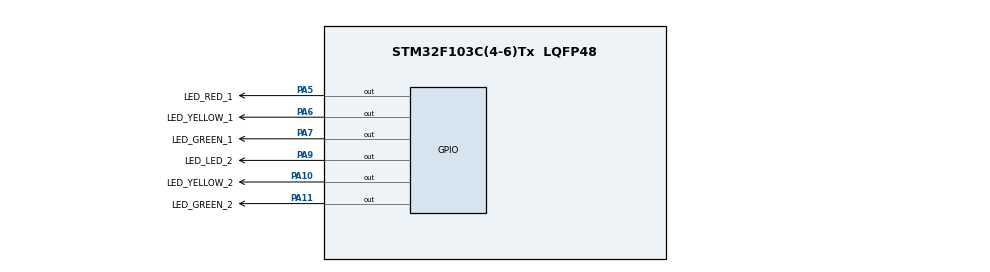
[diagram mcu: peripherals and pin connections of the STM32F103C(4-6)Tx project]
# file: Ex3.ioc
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Mcu.Family=STM32F1
Mcu.Name=STM32F103C(4-6)Tx
Mcu.Package=LQFP48
NVIC.PriorityGroup=NVIC_PRIORITYGROUP_4
PA10.GPIO_Label=LED_YELLOW_2
PA10.Signal=GPIO_Output
PA11.GPIO_Label=LED_GREEN_2
PA11.Signal=GPIO_Output
PA5.GPIO_Label=LED_RED_1
PA5.Signal=GPIO_Output
PA6.GPIO_Label=LED_YELLOW_1
PA6.Signal=GPIO_Output
PA7.GPIO_Label=LED_GREEN_1
PA7.Signal=GPIO_Output
PA9.GPIO_Label=LED_LED_2
PA9.Signal=GPIO_Output
ProjectManager.HeapSize=0x200
ProjectManager.StackSize=0x400
ProjectManager.TargetToolchain=STM32CubeIDE
RCC.APB1Freq_Value=8000000
RCC.APB2Freq_Value=8000000
board=custom

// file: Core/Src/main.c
/* USER CODE BEGIN Header */
/**
  ******************************************************************************
  * @file           : main.c
  * @brief          : Main program body
  ******************************************************************************
  * @attention
  *
  * Copyright (c) 2023 STMicroelectronics.
  * All rights reserved.
  *
  * This software is licensed under terms that can be found in the LICENSE file
  * in the root directory of this software component.
  * If no LICENSE file comes with this software, it is provided AS-IS.
  *
  ******************************************************************************
  */
/* USER CODE END Header */
#include "main.h"

void SystemClock_Config(void);
static void MX_GPIO_Init(void);

int main(void)
{

  /* MCU Configuration--------------------------------------------------------*/

  /* Reset of all peripherals, Initializes the Flash interface and the Systick. */
  HAL_Init();

  /* Configure the system clock */
  SystemClock_Config();

  /* Initialize all configured peripherals */
  MX_GPIO_Init();

  /* Infinite loop */

  int time_delay_RED = 500;
  int time_delay_YELLOW = 200;
  int time_delay_GREEN = 300;

  HAL_GPIO_WritePin(GPIOA, GPIO_PIN_5, 0);
  HAL_GPIO_WritePin(GPIOA, GPIO_PIN_6, 0);
  HAL_GPIO_WritePin(GPIOA, GPIO_PIN_7, 0);
  HAL_GPIO_WritePin(GPIOA, GPIO_PIN_9, 0);
  HAL_GPIO_WritePin(GPIOA, GPIO_PIN_10, 0);
  HAL_GPIO_WritePin(GPIOA, GPIO_PIN_11, 0);

  int count_1 = time_delay_RED;
  int count_2 = time_delay_GREEN;
  int status_1 = 1;
  int status_2 = 6;

  /*
   * STATUS 1: RED -> YELLOW -> GREEN
   * 	RED: 	1 - PIN 5
   * 	YELLOW: 2 - PIN 6
   * 	GREEN: 	3 - PIN 7
   *
   * STATUS 2: GREEN -> YELLOW -> RED
   * 	RED: 	4 - PIN 9
   * 	YELLOW: 5 - PIN 10
   * 	GREEN: 	6 - PIN 11
   * */

  /* USER CODE BEGIN WHILE */
  while (1)
  {
	  if(status_1 == 1){
		  HAL_GPIO_WritePin(GPIOA, GPIO_PIN_5, 1);

		  if(status_2 == 6){
			  HAL_GPIO_WritePin(GPIOA, GPIO_PIN_11, 1);
			  count_2 --;
			  if(count_2 == 0){
				  HAL_GPIO_WritePin(GPIOA, GPIO_PIN_11, 0);
				  status_2 = 5;
				  count_2 = time_delay_YELLOW;
			  }
		  }
		  else if(status_2 == 5){
			  HAL_GPIO_WritePin(GPIOA, GPIO_PIN_10, 1);
			  count_2 --;
			  if(count_2 == 0){
				  HAL_GPIO_WritePin(GPIOA, GPIO_PIN_10, 0);
				  status_2 = 4;
				  count_2 = time_delay_RED;
			  }
		  }

		  count_1 --;

		  if(count_1 == 0){
			  HAL_GPIO_WritePin(GPIOA, GPIO_PIN_5, 0);
			  status_1 = 2;
			  count_1 = time_delay_YELLOW;
		  }
	  }

	  if(status_2 == 4){
		  HAL_GPIO_WritePin(GPIOA, GPIO_PIN_9, 1);

		  if(status_1 == 2){
			  HAL_GPIO_WritePin(GPIOA, GPIO_PIN_6, 1);
			  count_1 --;
			  if(count_1 == 0){
				  HAL_GPIO_WritePin(GPIOA, GPIO_PIN_6, 0);
				  status_1 = 3;
				  count_1 = time_delay_GREEN;
			  }
		  }
		  else if(status_1 == 3){
			  HAL_GPIO_WritePin(GPIOA, GPIO_PIN_7, 1);
			  count_1 --;
			  if(count_1 == 0){
				  HAL_GPIO_WritePin(GPIOA, GPIO_PIN_7, 0);
				  status_1 = 1;
				  count_1 = time_delay_RED;
			  }
		  }

		  count_2 --;

		  if(count_2 == 0){
			  HAL_GPIO_WritePin(GPIOA, GPIO_PIN_9, 0);
			  status_2 = 6;
			  count_2 = time_delay_GREEN;
		  }
	  }

	  HAL_Delay(10);
    /* USER CODE END WHILE */

  }
}

void SystemClock_Config(void)
{
  RCC_OscInitTypeDef RCC_OscInitStruct = {0};
  RCC_ClkInitTypeDef RCC_ClkInitStruct = {0};

  /** Initializes the RCC Oscillators according to the specified parameters
  * in the RCC_OscInitTypeDef structure.
  */
  RCC_OscInitStruct.OscillatorType = RCC_OSCILLATORTYPE_HSI;
  RCC_OscInitStruct.HSIState = RCC_HSI_ON;
  RCC_OscInitStruct.HSICalibrationValue = RCC_HSICALIBRATION_DEFAULT;
  RCC_OscInitStruct.PLL.PLLState = RCC_PLL_NONE;
  if (HAL_RCC_OscConfig(&RCC_OscInitStruct) != HAL_OK)
  {
    Error_Handler();
  }

  /** Initializes the CPU, AHB and APB buses clocks
  */
  RCC_ClkInitStruct.ClockType = RCC_CLOCKTYPE_HCLK|RCC_CLOCKTYPE_SYSCLK
                              |RCC_CLOCKTYPE_PCLK1|RCC_CLOCKTYPE_PCLK2;
  RCC_ClkInitStruct.SYSCLKSource = RCC_SYSCLKSOURCE_HSI;
  RCC_ClkInitStruct.AHBCLKDivider = RCC_SYSCLK_DIV1;
  RCC_ClkInitStruct.APB1CLKDivider = RCC_HCLK_DIV1;
  RCC_ClkInitStruct.APB2CLKDivider = RCC_HCLK_DIV1;

  if (HAL_RCC_ClockConfig(&RCC_ClkInitStruct, FLASH_LATENCY_0) != HAL_OK)
  {
    Error_Handler();
  }
}

static void MX_GPIO_Init(void)
{
  GPIO_InitTypeDef GPIO_InitStruct = {0};

  /* GPIO Ports Clock Enable */
  __HAL_RCC_GPIOA_CLK_ENABLE();

  /*Configure GPIO pin Output Level */
  HAL_GPIO_WritePin(GPIOA, LED_RED_1_Pin|LED_YELLOW_1_Pin|LED_GREEN_1_Pin|LED_LED_2_Pin
                          |LED_YELLOW_2_Pin|LED_GREEN_2_Pin, GPIO_PIN_RESET);

  /*Configure GPIO pins : LED_RED_1_Pin LED_YELLOW_1_Pin LED_GREEN_1_Pin LED_LED_2_Pin
                           LED_YELLOW_2_Pin LED_GREEN_2_Pin */
  GPIO_InitStruct.Pin = LED_RED_1_Pin|LED_YELLOW_1_Pin|LED_GREEN_1_Pin|LED_LED_2_Pin
                          |LED_YELLOW_2_Pin|LED_GREEN_2_Pin;
  GPIO_InitStruct.Mode = GPIO_MODE_OUTPUT_PP;
  GPIO_InitStruct.Pull = GPIO_NOPULL;
  GPIO_InitStruct.Speed = GPIO_SPEED_FREQ_LOW;
  HAL_GPIO_Init(GPIOA, &GPIO_InitStruct);

}

void Error_Handler(void)
{
  __disable_irq();
  while (1)
  {
  }
}
